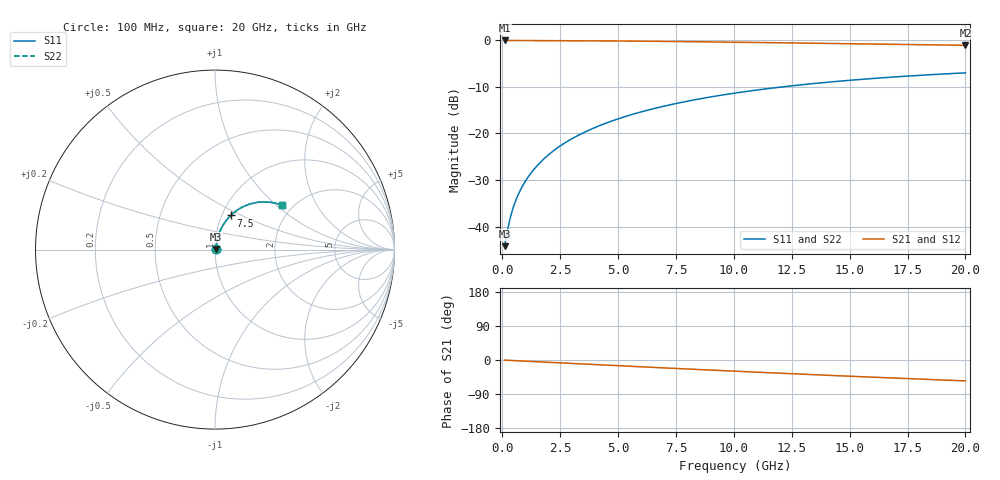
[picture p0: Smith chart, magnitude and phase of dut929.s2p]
! Touchstone file exported from HFSS 2026.1.0
!  File:  C:/ffzhzh/LocalFiles/Ansys_Project_Files/temp_train_TMRDL_929_1783158304_43440.aedt
!  Generated:  05:46:33 PM Jul  4, 2026
!  Design:  TMRDL
!  Project:  temp_train_TMRDL_929_1783158304_43440
! Variables:
!  h_bsmrdl = 2um
!  h_ox = 20um
!  h_rdl = 5um
!  h_sub = 80um
!  h_tmrdl = 2.2um
!  h_tsv = 80um
!  h_via = 3um
!  l_bsmrdl = 300um
!  l_sub = 1245.29um
!  l_tmrdl = 845.29um
!  m_sub = 200um
!  pitch = 54um
!  r_tsv = 6um
!  s_tmrdl = 10um
!  w_bsmrdl = 18um
!  w_sub = 500um
!  w_tmrdl = 27.78um
!  x_tsv_center1 = 859.18um
!  x_tsv_center2 = 1177.18um
!  x_tsv_center3 = 2050.25um
!  x_tsv_center4 = 2368.25um
!  x_tsv_center5 = 3241.32um
!  x_tsv_center6 = 3559.32um
# GHz S MA R 50.000000
! Terminal data exported
! Port[1] = TM_RDL1_1_T1
! Port[2] = TM_RDL1_1_T2
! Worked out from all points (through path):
!   200 points, 100 MHz to 20 GHz, reference 50 ohm
!   highest |S21| = -0.05 dB at 100 MHz (marker M1); lowest = -1.1 dB at 20 GHz (marker M2)
!   group delay of S21, straight-line fit = 7.68 ps
!   lowest |S11| = -44.2 dB at 100 MHz (marker M3), VSWR 1.01, Z = 50.5 + j0.332 ohm
!   |S11| at or under -10 dB: start of sweep to 12.1 GHz
!   |S22| runs from -44.2 to -7.0 dB; largest |S21 - S12| = 2.3e-13
!   S11 on the Smith chart (normalised r, x): 100 MHz: 1.01, +0.01; 7.5 GHz: 1.10, +0.44; 20 GHz: 1.76, +1.09
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0.1  0.006189 32.1  0.9948 -0.3  0.9948 -0.3  0.006189 32.1
! Gamma 0 0 0 0
! Port Impedance 50 0 50 0
0.2  0.008508 49.8  0.9946 -0.6  0.9946 -0.6  0.008508 49.8
0.3  0.01123 58.7  0.9943 -1.0  0.9943 -1.0  0.01123 58.7
0.4  0.01404 63.8  0.994 -1.3  0.994 -1.3  0.01404 63.8
0.5  0.01686 67.0  0.9937 -1.6  0.9937 -1.6  0.01686 67.0
0.6  0.01966 69.3  0.9935 -1.9  0.9935 -1.9  0.01966 69.3
0.8  0.02526 72.3  0.9931 -2.5  0.9931 -2.5  0.02526 72.3
1.1  0.03369 74.8  0.9926 -3.4  0.9926 -3.4  0.03369 74.8
1.3  0.03934 75.7  0.9922 -4.0  0.9922 -4.0  0.03934 75.7
1.6  0.04786 76.5  0.9918 -4.9  0.9918 -4.9  0.04786 76.5
2.1  0.06211 76.9  0.9908 -6.4  0.9908 -6.4  0.0621 76.9
2.7  0.0792 76.4  0.9895 -8.2  0.9895 -8.2  0.0792 76.4
3.5  0.1018 75.1  0.9872 -10.6  0.9872 -10.6  0.1018 75.1
4.2  0.1215 73.6  0.9848 -12.7  0.9848 -12.7  0.1214 73.6
5  0.1435 71.7  0.9817 -15.1  0.9817 -15.1  0.1435 71.8
5.9  0.1679 69.5  0.9776 -17.7  0.9776 -17.7  0.1679 69.5
6.8  0.1916 67.1  0.9729 -20.3  0.9729 -20.3  0.1916 67.1
7.5  0.2096 65.2  0.969 -22.4  0.969 -22.4  0.2096 65.3
10.1  0.2725 58.3  0.9526 -29.7  0.9526 -29.7  0.2724 58.3
13.4  0.3423 49.6  0.929 -38.6  0.929 -38.6  0.3423 49.6
16.7  0.4004 41.3  0.905 -47.1  0.905 -47.1  0.4004 41.4
20  0.4471 33.4  0.8827 -55.2  0.8827 -55.2  0.447 33.5
